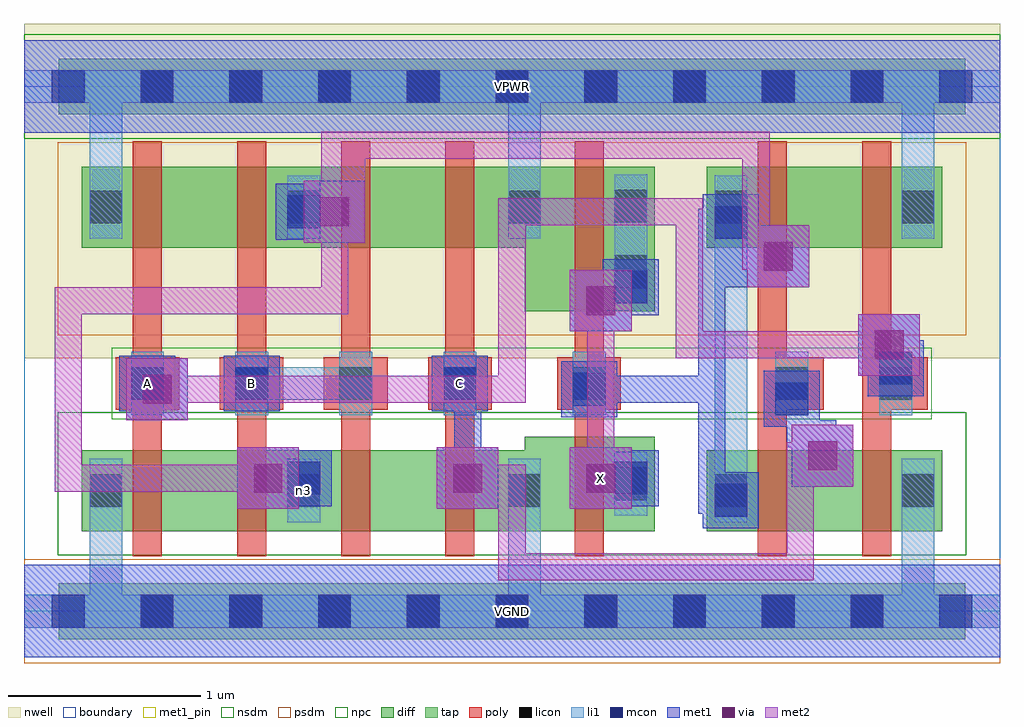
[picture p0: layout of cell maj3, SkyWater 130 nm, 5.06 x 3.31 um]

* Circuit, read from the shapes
.subckt maj3 A B C VGND VPWR X n3
XM1 n1 A VGND VGND sky130_fd_pr__nfet_01v8 w=0.42 l=0.15
XM2 n3 B n1 VGND sky130_fd_pr__nfet_01v8 w=0.42 l=0.15
XM3 n2 B n3 VGND sky130_fd_pr__nfet_01v8 w=0.42 l=0.15
XM4 VGND C n2 VGND sky130_fd_pr__nfet_01v8 w=0.42 l=0.15
XM5 X n3 VGND VGND sky130_fd_pr__nfet_01v8 w=0.49 l=0.15
XM6 n4 C n3 VGND sky130_fd_pr__nfet_01v8 w=0.42 l=0.15
XM7 VGND A n4 VGND sky130_fd_pr__nfet_01v8 w=0.42 l=0.15
XM8 n5 A VPWR VPWR sky130_fd_pr__pfet_01v8 w=0.42 l=0.15
XM9 n3 B n5 VPWR sky130_fd_pr__pfet_01v8 w=0.42 l=0.15
XM10 n6 B n3 VPWR sky130_fd_pr__pfet_01v8 w=0.42 l=0.15
XM11 VPWR C n6 VPWR sky130_fd_pr__pfet_01v8 w=0.42 l=0.15
XM12 X n3 VPWR VPWR sky130_fd_pr__pfet_01v8 w=0.75 l=0.15
XM13 n7 C n3 VPWR sky130_fd_pr__pfet_01v8 w=0.42 l=0.15
XM14 VPWR A n7 VPWR sky130_fd_pr__pfet_01v8 w=0.42 l=0.15
.ends

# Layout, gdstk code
import gdstk
lib = gdstk.Library(unit=1e-6, precision=1e-09)
def R(c, l, rs):  # rectangles x0, y0, x1, y1
    for r in rs: c.add(gdstk.rectangle(r[:2], r[2:], *l))
def A(c, l, x, y, w, h, nx, ny, dx, dy):  # array of equal rectangles
    R(c, l, [(x+i*dx, y+j*dy, x+i*dx+w, y+j*dy+h) for i in range(nx) for j in range(ny)])
nwell = (64, 20)
diff = (65, 20)
tap = (65, 44)
poly = (66, 20)
licon = (66, 44)
li1 = (67, 20)
mcon = (67, 44)
met1_pin = (68, 16)
met1 = (68, 20)
via = (68, 44)
met2 = (69, 20)
nsdm = (93, 44)
psdm = (94, 20)
npc = (95, 20)
boundary = (235, 4)

maj3 = lib.new_cell('maj3')
R(maj3, nwell, [(0,1.31,5.06,3.045)])
R(maj3, diff, [(0.3,0.415,2.595,0.835), (2.595,0.415,3.27,0.905), (3.54,0.415,4.76,0.835), (2.595,1.555,3.27,2.305), (0.3,1.885,2.595,2.305), (3.54,1.885,4.76,2.305)])
R(maj3, tap, [(0.18,-0.145,4.88,0.145), (0.18,2.575,4.88,2.865)])
A(maj3, poly, 0.565, 0.285, 0.15, 2.15, 4, 1, 0.54, 0)
A(maj3, poly, 0.475, 1.045, 0.33, 0.27, 4, 1, 0.54, 0)
R(maj3, poly, [(2.855,0.285,3.005,2.435), (3.805,0.285,3.955,2.435), (4.345,0.285,4.495,2.435), (2.765,1.045,3.095,1.315), (3.815,1.045,4.145,1.315), (4.355,1.045,4.685,1.315)])
A(maj3, licon, 0.605, -0.085, 0.17, 0.17, 9, 2, 0.46, 2.72)
A(maj3, licon, 0.555, 1.095, 0.17, 0.17, 4, 1, 0.54, 0)
R(maj3, licon, [(0.34,0.54,0.51,0.71), (1.365,0.54,1.535,0.71), (2.51,0.54,2.68,0.71), (3.58,0.54,3.75,0.71), (4.55,0.54,4.72,0.71), (3.06,0.575,3.23,0.745), (2.845,1.095,3.015,1.265), (3.895,1.095,4.065,1.265), (4.435,1.095,4.605,1.265), (3.06,1.675,3.23,1.845), (0.34,2.01,0.51,2.18), (1.365,2.01,1.535,2.18), (2.51,2.01,2.68,2.18), (3.58,2.01,3.75,2.18), (4.55,2.01,4.72,2.18), (3.06,2.015,3.23,2.185)])
A(maj3, li1, 0.555, 1.015, 0.17, 0.33, 4, 1, 0.54, 0)
R(maj3, li1, [(0,-0.085,5.06,0.085), (0.34,-0.085,0.51,0.79), (2.51,-0.085,2.68,0.79), (4.55,-0.085,4.72,0.79), (0.34,0.46,0.51,0.79), (1.365,0.46,1.535,0.79), (2.51,0.46,2.68,0.79), (3.58,0.46,3.75,0.79), (3.58,0.46,3.75,2.26), (4.55,0.46,4.72,0.79), (3.06,0.495,3.23,0.825), (2.845,1.015,3.015,1.345), (3.895,1.015,4.065,1.345), (4.435,1.015,4.605,1.345), (1.095,1.095,1.805,1.265), (3.06,1.595,3.23,2.265), (0.34,1.93,0.51,2.26), (0.34,1.93,0.51,2.805), (1.365,1.93,1.535,2.26), (2.51,1.93,2.68,2.26), (2.51,1.93,2.68,2.805), (3.58,1.93,3.75,2.26), (4.55,1.93,4.72,2.26), (4.55,1.93,4.72,2.805), (0,2.635,5.06,2.805)])
A(maj3, mcon, 0.145, -0.085, 0.17, 0.17, 11, 2, 0.46, 2.72)
R(maj3, mcon, [(3.58,0.49,3.75,0.66), (1.365,0.605,1.535,0.775), (3.06,0.605,3.23,0.775), (3.895,1.015,4.065,1.185), (2.845,1.065,3.015,1.235), (0.555,1.095,0.725,1.265), (1.095,1.095,1.265,1.265), (2.175,1.095,2.345,1.265), (4.435,1.175,4.605,1.345), (3.06,1.595,3.23,1.765), (3.58,1.93,3.75,2.1), (1.365,1.985,1.535,2.155)])
R(maj3, met1_pin, [(0,-0.24,5.06,0.24), (2.83,0.53,3.15,0.85), (0.495,1.035,0.785,1.325), (1.035,1.035,1.325,1.325), (2.115,1.035,2.405,1.325), (0,2.48,5.06,2.96)])
R(maj3, met1, [(0,-0.24,5.06,0.24), (3.52,0.43,3.81,0.72), (3.495,0.505,3.735,0.645), (3.495,0.505,3.635,1.22), (1.105,0.53,1.425,0.85), (2.14,0.53,2.46,0.85), (2.83,0.53,3.15,0.85), (1.305,0.545,1.595,0.835), (3,0.545,3.29,0.835), (1.195,0.62,1.52,0.76), (2.23,0.62,2.37,1.22), (2.92,0.62,3.215,0.76), (3.98,0.645,4.3,0.965), (4.07,0.735,4.21,0.99), (3.955,0.85,4.095,1.17), (3.955,0.85,4.21,0.99), (3.835,0.955,4.125,1.245), (0.53,0.99,0.85,1.31), (2.785,1.005,3.075,1.295), (3.91,1.03,4.095,1.17), (0.495,1.035,0.785,1.325), (1.035,1.035,1.325,1.325), (2.115,1.035,2.405,1.325), (0.62,1.08,0.76,1.22), (2.23,1.08,2.37,1.22), (2.86,1.08,3.175,1.22), (3.035,1.08,3.635,1.22), (3.495,1.08,3.635,1.91), (4.375,1.115,4.665,1.405), (4.415,1.19,4.59,1.33), (4.415,1.19,4.555,1.45), (4.325,1.22,4.645,1.54), (2.83,1.45,3.15,1.77), (3,1.535,3.29,1.825), (2.92,1.54,3.06,1.75), (2.92,1.61,3.215,1.75), (3.635,1.68,3.75,1.91), (3.75,1.68,4.07,2), (3.495,1.77,3.635,2.085), (3.495,1.77,3.98,1.91), (3.635,1.77,3.75,2), (3.52,1.87,3.81,2.16), (1.45,1.91,1.77,2.23), (3.495,1.91,3.735,1.945), (1.305,1.925,1.595,2.215), (3.495,1.945,3.735,2.085), (1.38,2,1.68,2.14), (0,2.48,5.06,2.96)])
R(maj3, via, [(1.19,0.615,1.34,0.765), (2.225,0.615,2.375,0.765), (2.915,0.615,3.065,0.765), (4.065,0.73,4.215,0.88), (0.615,1.075,0.765,1.225), (4.41,1.305,4.56,1.455), (2.915,1.535,3.065,1.685), (3.835,1.765,3.985,1.915), (1.535,1.995,1.685,2.145)])
R(maj3, met2, [(2.46,0.16,2.6,0.76), (2.46,0.16,4.095,0.3), (3.955,0.16,4.095,0.875), (1.105,0.53,1.425,0.85), (2.14,0.53,2.46,0.85), (2.83,0.53,3.15,0.85), (0.16,0.62,0.3,1.68), (0.16,0.62,1.335,0.76), (2.23,0.62,2.6,0.76), (2.92,0.62,3.06,1.68), (3.98,0.645,4.3,0.965), (3.955,0.735,4.21,0.875), (0.53,0.99,0.85,1.31), (0.62,1.08,2.6,1.22), (2.46,1.08,2.6,2.14), (4.325,1.22,4.645,1.54), (3.38,1.31,3.52,2.14), (3.38,1.31,4.555,1.45), (2.83,1.45,3.15,1.77), (0.16,1.54,1.68,1.68), (1.54,1.54,1.68,2.14), (3.75,1.68,4.07,2), (3.725,1.77,3.865,2.485), (3.725,1.77,3.98,1.91), (1.45,1.91,1.77,2.23), (1.54,2,1.68,2.485), (2.46,2,3.52,2.14), (1.54,2.23,1.77,2.345), (1.54,2.345,3.865,2.485)])
R(maj3, nsdm, [(0.175,0.29,4.885,1.03), (0,2.45,5.06,2.99)])
R(maj3, psdm, [(0,-0.27,5.06,0.27), (0.175,1.43,4.885,2.43)])
R(maj3, npc, [(0.455,0.995,4.705,1.365)])
R(maj3, boundary, [(0,0,5.06,2.72)])
maj3.add(gdstk.Label('n3', (1.45,0.625), layer=67, texttype=5))
maj3.add(gdstk.Label('A', (0.64,1.18), layer=68, texttype=5))
maj3.add(gdstk.Label('B', (1.18,1.18), layer=68, texttype=5))
maj3.add(gdstk.Label('C', (2.26,1.18), layer=68, texttype=5))
maj3.add(gdstk.Label('X', (2.99,0.69), layer=68, texttype=5))
maj3.add(gdstk.Label('VPWR', (2.53,2.72), layer=68, texttype=5))
maj3.add(gdstk.Label('VGND', (2.53,0), layer=68, texttype=5))
maj3.add(gdstk.Label('A', (0.64,1.18), layer=68, texttype=16))
maj3.add(gdstk.Label('B', (1.18,1.18), layer=68, texttype=16))
maj3.add(gdstk.Label('C', (2.26,1.18), layer=68, texttype=16))
maj3.add(gdstk.Label('X', (2.99,0.69), layer=68, texttype=16))
maj3.add(gdstk.Label('VPWR', (2.53,2.72), layer=68, texttype=16))
maj3.add(gdstk.Label('VGND', (2.53,0), layer=68, texttype=16))

lib.write_gds('maj3.gds')
